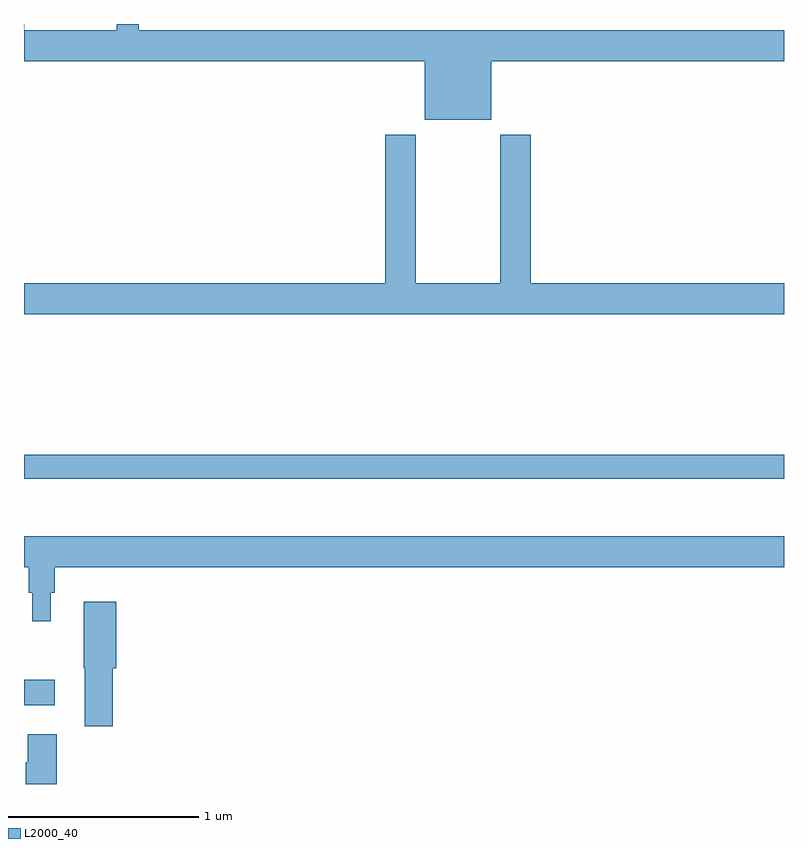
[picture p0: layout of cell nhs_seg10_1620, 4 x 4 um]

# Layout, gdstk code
import gdstk
lib = gdstk.Library(unit=1e-6, precision=1e-09)
def R(c, l, rs):  # rectangles x0, y0, x1, y1
    for r in rs: c.add(gdstk.rectangle(r[:2], r[2:], *l))
def P(c, l, *ps):  # polygons
    for p in ps: c.add(gdstk.Polygon(p, *l))
L2000_40 = (2000, 40)

nhs_seg10_1620 = lib.new_cell('nhs_seg10_1620')
R(nhs_seg10_1620, L2000_40, [(195,1308.914,195.163,1309.049), (195,1310.106,199,1310.234)])
P(nhs_seg10_1620, L2000_40, [(197.458,1312.304),(199,1312.304),(199,1312.468),(195.605,1312.468),(195.605,1312.5),(195.487,1312.5),(195.487,1312.468),(195.002,1312.468),(195.002,1312.5),(195,1312.5),(195,1312.304),(197.108,1312.304),(197.108,1311.995),(197.458,1311.995)],
  [(199,1311.136),(197.666,1311.136),(197.666,1311.916),(197.506,1311.916),(197.506,1311.136),(197.061,1311.136),(197.061,1311.916),(196.901,1311.916),(196.901,1311.136),(195,1311.136),(195,1310.972),(199,1310.972)],
  [(195.142,1309.506),(195.161,1309.506),(195.161,1309.64),(199,1309.64),(199,1309.804),(195,1309.804),(195,1309.64),(195.025,1309.64),(195.025,1309.506),(195.044,1309.506),(195.044,1309.356),(195.142,1309.356)],
  [(195.467,1309.11),(195.485,1309.11),(195.485,1309.459),(195.314,1309.459),(195.314,1309.11),(195.32,1309.11),(195.32,1308.804),(195.467,1308.804)],
  [(195.173,1308.763),(195.02,1308.763),(195.02,1308.614),(195.008,1308.614),(195.008,1308.5),(195.173,1308.5)])

lib.write_gds('nhs_seg10_1620.gds')
